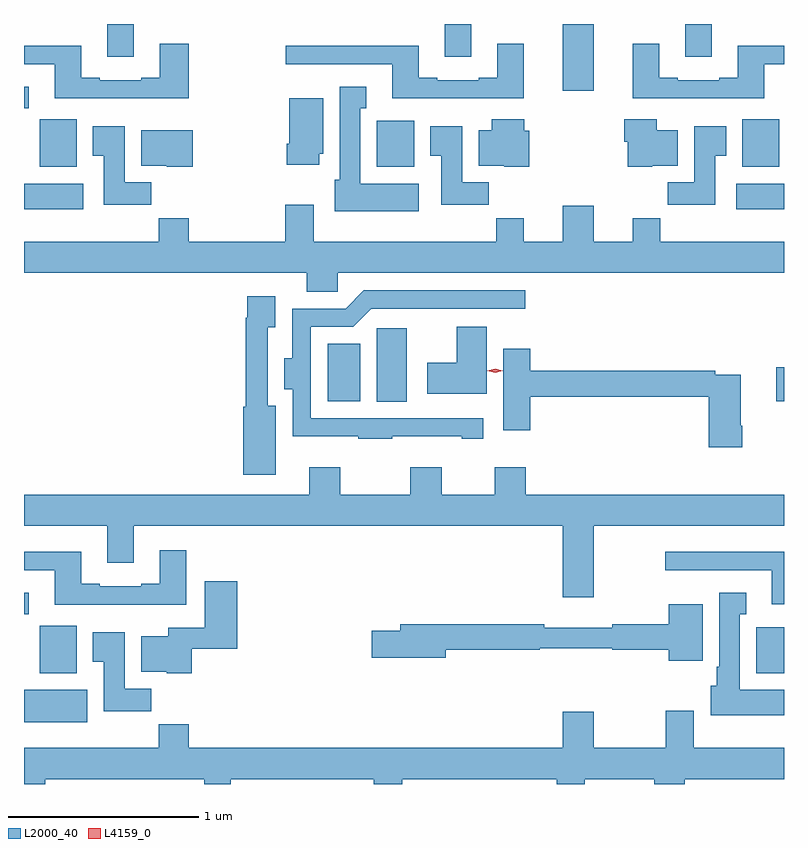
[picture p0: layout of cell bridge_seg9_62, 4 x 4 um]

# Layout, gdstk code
import gdstk
lib = gdstk.Library(unit=1e-6, precision=1e-09)
def R(c, l, rs):  # rectangles x0, y0, x1, y1
    for r in rs: c.add(gdstk.rectangle(r[:2], r[2:], *l))
def P(c, l, *ps):  # polygons
    for p in ps: c.add(gdstk.Polygon(p, *l))
L2000_40 = (2000, 40)
L4159_0 = (4159, 0)

bridge_seg9_62 = lib.new_cell('bridge_seg9_62')
R(bridge_seg9_62, L2000_40, [(1085.249,1206.044,1085.581,1206.214), (1085.331,1206.302,1085.527,1206.552), (1089.104,1206.302,1089.249,1206.544), (1085.249,1206.611,1085.275,1206.724), (1087.106,1207.729,1087.264,1208.116), (1086.848,1207.733,1087.018,1208.035), (1089.207,1207.733,1089.249,1207.911), (1085.249,1208.744,1085.56,1208.878), (1088.997,1208.744,1089.249,1208.878), (1085.331,1208.966,1085.527,1209.216), (1087.106,1208.966,1087.303,1209.208), (1089.029,1208.966,1089.225,1209.217), (1085.249,1209.275,1085.275,1209.388), (1088.084,1209.366,1088.248,1209.718), (1085.687,1209.546,1085.827,1209.718), (1087.463,1209.546,1087.603,1209.718), (1088.729,1209.546,1088.869,1209.718)])
P(bridge_seg9_62, L2000_40, [(1087.879,1209.613),(1087.739,1209.613),(1087.739,1209.436),(1087.643,1209.436),(1087.643,1209.423),(1087.423,1209.423),(1087.423,1209.436),(1087.327,1209.436),(1087.327,1209.604),(1086.627,1209.604),(1086.627,1209.507),(1087.187,1209.507),(1087.187,1209.326),(1087.879,1209.326)],
  [(1089.145,1209.507),(1089.249,1209.507),(1089.249,1209.604),(1089.005,1209.604),(1089.005,1209.436),(1088.909,1209.436),(1088.909,1209.423),(1088.689,1209.423),(1088.689,1209.436),(1088.593,1209.436),(1088.593,1209.613),(1088.453,1209.613),(1088.453,1209.326),(1089.145,1209.326)],
  [(1086.116,1209.613),(1085.963,1209.613),(1085.963,1209.436),(1085.867,1209.436),(1085.867,1209.423),(1085.647,1209.423),(1085.647,1209.436),(1085.551,1209.436),(1085.551,1209.604),(1085.249,1209.604),(1085.249,1209.507),(1085.411,1209.507),(1085.411,1209.326),(1086.116,1209.326)],
  [(1087.327,1208.878),(1087.018,1208.878),(1087.018,1209.275),(1087.051,1209.275),(1087.051,1209.388),(1086.911,1209.388),(1086.911,1208.898),(1086.884,1208.898),(1086.884,1208.732),(1087.327,1208.732)],
  [(1086.802,1209.036),(1086.823,1209.036),(1086.823,1209.328),(1086.644,1209.328),(1086.644,1209.088),(1086.632,1209.088),(1086.632,1208.976),(1086.802,1208.976)],
  [(1088.556,1208.972),(1088.689,1208.972),(1088.689,1209.16),(1088.578,1209.16),(1088.578,1209.217),(1088.408,1209.217),(1088.408,1209.099),(1088.426,1209.099),(1088.426,1208.966),(1088.556,1208.966)],
  [(1087.907,1209.156),(1087.883,1209.156),(1087.883,1209.217),(1087.712,1209.217),(1087.712,1209.16),(1087.643,1209.16),(1087.643,1208.972),(1087.776,1208.972),(1087.776,1208.966),(1087.907,1208.966)],
  [(1087.694,1208.884),(1087.555,1208.884),(1087.555,1209.181),(1087.388,1209.181),(1087.388,1209.025),(1087.445,1209.025),(1087.445,1208.766),(1087.694,1208.766)],
  [(1088.887,1209.025),(1088.944,1209.025),(1088.944,1209.181),(1088.777,1209.181),(1088.777,1208.884),(1088.638,1208.884),(1088.638,1208.766),(1088.887,1208.766)],
  [(1085.918,1208.884),(1085.779,1208.884),(1085.779,1209.181),(1085.612,1209.181),(1085.612,1209.025),(1085.669,1209.025),(1085.669,1208.766),(1085.918,1208.766)],
  [(1086.136,1209.16),(1085.867,1209.16),(1085.867,1208.972),(1086,1208.972),(1086,1208.966),(1086.136,1208.966)],
  [(1086.623,1208.572),(1086.116,1208.572),(1086.116,1208.696),(1085.959,1208.696),(1085.959,1208.572),(1085.249,1208.572),(1085.249,1208.408),(1086.737,1208.408),(1086.737,1208.31),(1086.9,1208.31),(1086.9,1208.408),(1089.249,1208.408),(1089.249,1208.572),(1088.597,1208.572),(1088.597,1208.696),(1088.453,1208.696),(1088.453,1208.572),(1088.248,1208.572),(1088.248,1208.761),(1088.084,1208.761),(1088.084,1208.572),(1087.879,1208.572),(1087.879,1208.696),(1087.735,1208.696),(1087.735,1208.572),(1086.775,1208.572),(1086.775,1208.767),(1086.623,1208.767)],
  [(1087.187,1207.547),(1087.553,1207.547),(1087.553,1207.536),(1087.666,1207.536),(1087.666,1207.644),(1086.759,1207.644),(1086.759,1208.124),(1086.981,1208.124),(1087.077,1208.22),(1087.888,1208.22),(1087.888,1208.316),(1087.038,1208.316),(1086.942,1208.22),(1086.662,1208.22),(1086.662,1207.96),(1086.62,1207.96),(1086.62,1207.796),(1086.663,1207.796),(1086.663,1207.547),(1087.009,1207.547),(1087.009,1207.536),(1087.187,1207.536)],
  [(1086.574,1207.708),(1086.531,1207.708),(1086.531,1208.123),(1086.571,1208.123),(1086.571,1208.284),(1086.423,1208.284),(1086.423,1208.171),(1086.415,1208.171),(1086.415,1207.704),(1086.404,1207.704),(1086.404,1207.346),(1086.574,1207.346)],
  [(1087.684,1208.125),(1087.526,1208.125),(1087.526,1207.936),(1087.371,1207.936),(1087.371,1207.772),(1087.684,1207.772)],
  [(1089.03,1207.603),(1089.022,1207.603),(1089.022,1207.872),(1088.888,1207.872),(1088.888,1207.892),(1087.913,1207.892),(1087.913,1208.008),(1087.772,1208.008),(1087.772,1207.581),(1087.913,1207.581),(1087.913,1207.756),(1088.852,1207.756),(1088.852,1207.491),(1089.03,1207.491)],
  [(1088.248,1207.076),(1089.249,1207.076),(1089.249,1207.24),(1087.891,1207.24),(1087.891,1207.384),(1087.727,1207.384),(1087.727,1207.24),(1087.447,1207.24),(1087.447,1207.384),(1087.283,1207.384),(1087.283,1207.24),(1086.913,1207.24),(1086.913,1207.384),(1086.749,1207.384),(1086.749,1207.24),(1085.249,1207.24),(1085.249,1207.076),(1085.687,1207.076),(1085.687,1206.882),(1085.827,1206.882),(1085.827,1207.076),(1088.084,1207.076),(1088.084,1206.702),(1088.248,1206.702)],
  [(1086.103,1206.949),(1085.963,1206.949),(1085.963,1206.772),(1085.867,1206.772),(1085.867,1206.759),(1085.647,1206.759),(1085.647,1206.772),(1085.551,1206.772),(1085.551,1206.94),(1085.249,1206.94),(1085.249,1206.843),(1085.411,1206.843),(1085.411,1206.662),(1086.103,1206.662)],
  [(1089.249,1206.94),(1088.625,1206.94),(1088.625,1206.843),(1089.185,1206.843),(1089.185,1206.663),(1089.249,1206.663)],
  [(1086.131,1206.431),(1086.371,1206.431),(1086.371,1206.784),(1086.2,1206.784),(1086.2,1206.541),(1086.008,1206.541),(1086.008,1206.496),(1085.867,1206.496),(1085.867,1206.308),(1086,1206.308),(1086,1206.302),(1086.131,1206.302)],
  [(1089.249,1206.214),(1089.016,1206.214),(1089.016,1206.611),(1089.049,1206.611),(1089.049,1206.724),(1088.909,1206.724),(1088.909,1206.334),(1088.894,1206.334),(1088.894,1206.234),(1088.864,1206.234),(1088.864,1206.08),(1089.249,1206.08)],
  [(1088.821,1206.664),(1088.642,1206.664),(1088.642,1206.56),(1088.344,1206.56),(1088.344,1206.541),(1087.988,1206.541),(1087.988,1206.56),(1087.229,1206.56),(1087.229,1206.524),(1087.08,1206.524),(1087.08,1206.382),(1087.468,1206.382),(1087.468,1206.424),(1087.964,1206.424),(1087.964,1206.432),(1088.346,1206.432),(1088.346,1206.424),(1088.642,1206.424),(1088.642,1206.368),(1088.821,1206.368)],
  [(1085.918,1206.22),(1085.779,1206.22),(1085.779,1206.517),(1085.612,1206.517),(1085.612,1206.361),(1085.669,1206.361),(1085.669,1206.102),(1085.918,1206.102)],
  [(1086.116,1206.032),(1085.959,1206.032),(1085.959,1205.908),(1085.249,1205.908),(1085.249,1205.718),(1085.361,1205.718),(1085.361,1205.744),(1086.197,1205.744),(1086.197,1205.718),(1086.337,1205.718),(1086.337,1205.744),(1087.091,1205.744),(1087.091,1205.718),(1087.239,1205.718),(1087.239,1205.744),(1088.052,1205.744),(1088.052,1205.718),(1088.199,1205.718),(1088.199,1205.744),(1088.566,1205.744),(1088.566,1205.718),(1088.726,1205.718),(1088.726,1205.744),(1089.249,1205.744),(1089.249,1205.908),(1088.773,1205.908),(1088.773,1206.103),(1088.626,1206.103),(1088.626,1205.908),(1088.248,1205.908),(1088.248,1206.097),(1088.084,1206.097),(1088.084,1205.908),(1086.116,1205.908)])
P(bridge_seg9_62, L4159_0, [(1087.728,1207.883),(1087.688,1207.892),(1087.688,1207.892),(1087.688,1207.893),(1087.728,1207.903),(1087.768,1207.893),(1087.768,1207.893),(1087.768,1207.893)])

lib.write_gds('bridge_seg9_62.gds')
